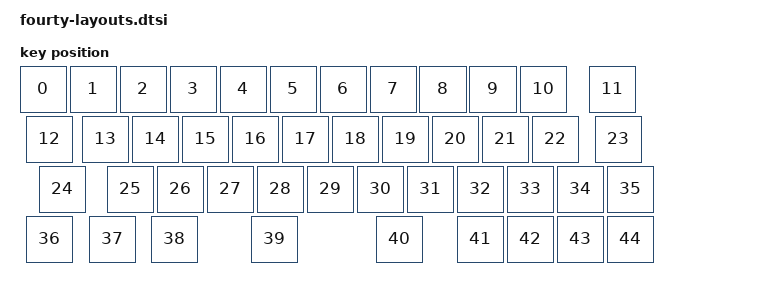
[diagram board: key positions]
#include <physical_layouts.dtsi>

/ {
    physical_layout_fourty: physical_layout_fourty {
        compatible = "zmk,physical-layout";
        display-name = "fourty";
        keys  //                     w   h    x    y     rot    rx    ry
            = <&key_physical_attrs 100 100    0    0       0     0     0>
            , <&key_physical_attrs 100 100  100    0       0   100     0>
            , <&key_physical_attrs 100 100  200    0       0   200     0>
            , <&key_physical_attrs 100 100  300    0       0   300     0>
            , <&key_physical_attrs 100 100  400    0       0   400     0>
            , <&key_physical_attrs 100 100  500    0       0   500     0>
            , <&key_physical_attrs 100 100  600    0       0   600     0>
            , <&key_physical_attrs 100 100  700    0       0   700     0>
            , <&key_physical_attrs 100 100  800    0       0   800     0>
            , <&key_physical_attrs 100 100  900    0       0   900     0>
            , <&key_physical_attrs 100 100 1000    0       0  1000     0>
            , <&key_physical_attrs 100 100 1138    0       0  1138     0>
            , <&key_physical_attrs 100 100   13  100       0    13   100>
            , <&key_physical_attrs 100 100  125  100       0   125   100>
            , <&key_physical_attrs 100 100  225  100       0   225   100>
            , <&key_physical_attrs 100 100  325  100       0   325   100>
            , <&key_physical_attrs 100 100  425  100       0   425   100>
            , <&key_physical_attrs 100 100  525  100       0   525   100>
            , <&key_physical_attrs 100 100  625  100       0   625   100>
            , <&key_physical_attrs 100 100  725  100       0   725   100>
            , <&key_physical_attrs 100 100  825  100       0   825   100>
            , <&key_physical_attrs 100 100  925  100       0   925   100>
            , <&key_physical_attrs 100 100 1025  100       0  1025   100>
            , <&key_physical_attrs 100 100 1150  100       0  1150   100>
            , <&key_physical_attrs 100 100   38  200       0    38   200>
            , <&key_physical_attrs 100 100  175  200       0   175   200>
            , <&key_physical_attrs 100 100  275  200       0   275   200>
            , <&key_physical_attrs 100 100  375  200       0   375   200>
            , <&key_physical_attrs 100 100  475  200       0   475   200>
            , <&key_physical_attrs 100 100  575  200       0   575   200>
            , <&key_physical_attrs 100 100  675  200       0   675   200>
            , <&key_physical_attrs 100 100  775  200       0   775   200>
            , <&key_physical_attrs 100 100  875  200       0   875   200>
            , <&key_physical_attrs 100 100  975  200       0   975   200>
            , <&key_physical_attrs 100 100 1075  200       0  1075   200>
            , <&key_physical_attrs 100 100 1175  200       0  1175   200>
            , <&key_physical_attrs 100 100   13  300       0    13   300>
            , <&key_physical_attrs 100 100  138  300       0   138   300>
            , <&key_physical_attrs 100 100  263  300       0   263   300>
            , <&key_physical_attrs 100 100  463  300       0   463   300>
            , <&key_physical_attrs 100 100  713  300       0   713   300>
            , <&key_physical_attrs 100 100  875  300       0   875   300>
            , <&key_physical_attrs 100 100  975  300       0   975   300>
            , <&key_physical_attrs 100 100 1075  300       0  1075   300>
            , <&key_physical_attrs 100 100 1175  300       0  1175   300>
            ;
    };
};
